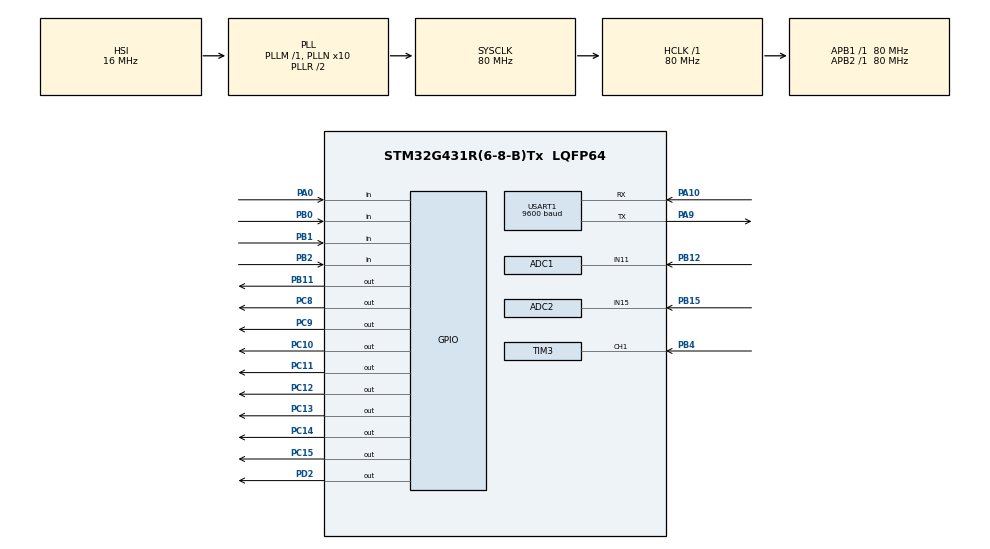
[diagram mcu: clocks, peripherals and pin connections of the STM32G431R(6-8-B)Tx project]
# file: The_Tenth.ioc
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ADC1.Channel-0\#ChannelRegularConversion=ADC_CHANNEL_11
ADC1.NbrOfConversionFlag=1
ADC1.OffsetNumber-0\#ChannelRegularConversion=ADC_OFFSET_NONE
ADC1.Rank-0\#ChannelRegularConversion=1
ADC1.SamplingTime-0\#ChannelRegularConversion=ADC_SAMPLETIME_640CYCLES_5
ADC1.master=1
ADC2.Channel-0\#ChannelRegularConversion=ADC_CHANNEL_15
ADC2.NbrOfConversionFlag=1
ADC2.OffsetNumber-0\#ChannelRegularConversion=ADC_OFFSET_NONE
ADC2.Rank-0\#ChannelRegularConversion=1
ADC2.SamplingTime-0\#ChannelRegularConversion=ADC_SAMPLETIME_640CYCLES_5
Mcu.Family=STM32G4
Mcu.Name=STM32G431R(6-8-B)Tx
Mcu.Package=LQFP64
NVIC.PriorityGroup=NVIC_PRIORITYGROUP_4
NVIC.TIM3_IRQn=true\:1\:0\:true\:false\:true\:true\:true
NVIC.USART1_IRQn=true\:1\:0\:true\:false\:true\:true\:true
PA0.GPIO_PuPd=GPIO_PULLUP
PA0.Signal=GPIO_Input
PA10.Mode=Asynchronous
PA10.Signal=USART1_RX
PA9.Mode=Asynchronous
PA9.Signal=USART1_TX
PB0.GPIO_PuPd=GPIO_PULLUP
PB0.Signal=GPIO_Input
PB1.GPIO_PuPd=GPIO_PULLUP
PB1.Signal=GPIO_Input
PB11.GPIO_PuPd=GPIO_PULLDOWN
PB11.Signal=GPIO_Output
PB12.Mode=IN11-Single-Ended
PB12.Signal=ADC1_IN11
PB15.Mode=IN15-Single-Ended
PB15.Signal=ADC2_IN15
PB2.GPIO_PuPd=GPIO_PULLUP
PB2.Signal=GPIO_Input
PB4.Signal=S_TIM3_CH1
PC10.Signal=GPIO_Output
PC11.Signal=GPIO_Output
PC12.Signal=GPIO_Output
PC13.Signal=GPIO_Output
PC14-OSC32_IN.Signal=GPIO_Output
PC15-OSC32_OUT.Signal=GPIO_Output
PC8.Signal=GPIO_Output
PC9.Signal=GPIO_Output
PD2.Signal=GPIO_Output
ProjectManager.HeapSize=0x200
ProjectManager.StackSize=0x400
ProjectManager.TargetToolchain=MDK-ARM V5.32
RCC.ADC12Freq_Value=80000000
RCC.AHBFreq_Value=80000000
RCC.APB1Freq_Value=80000000
RCC.APB1TimFreq_Value=80000000
RCC.APB2Freq_Value=80000000
RCC.APB2TimFreq_Value=80000000
RCC.CortexFreq_Value=80000000
RCC.EXTERNAL_CLOCK_VALUE=12288000
RCC.HCLKFreq_Value=80000000
RCC.HSE_VALUE=8000000
RCC.HSI48_VALUE=48000000
RCC.HSI_VALUE=16000000
RCC.LSE_VALUE=32768
RCC.PLLN=10
RCC.SYSCLKFreq_VALUE=80000000
RCC.SYSCLKSource=RCC_SYSCLKSOURCE_PLLCLK
RCC.USBFreq_Value=80000000
RCC.VCOOutputFreq_Value=160000000
SH.S_TIM3_CH1.0=TIM3_CH1,TriggerSource_TI1FP1
SH.S_TIM3_CH1.1=TIM3_CH1,Input_Capture1_from_TI1
TIM3.Channel-Input_Capture1_from_TI1=TIM_CHANNEL_1
TIM3.Channel-Input_Capture2_from_TI1_63=TIM_CHANNEL_2
TIM3.ICPolarity_CH2=TIM_INPUTCHANNELPOLARITY_FALLING
TIM3.Prescaler=79
USART1.BaudRate=9600
USART1.VirtualMode-Asynchronous=VM_ASYNC
VP_SYS_VS_DBSignals.Mode=DisableDeadBatterySignals
VP_TIM3_VS_ClockSourceINT.Mode=Internal
VP_TIM3_VS_ControllerModeReset.Mode=Reset Mode
VP_TIM3_VS_indirect_ch1.Mode=Input_Capture2_from_TI1_63
board=custom

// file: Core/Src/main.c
/* USER CODE BEGIN Header */
/**
  ******************************************************************************
  * @file           : main.c
  * @brief          : Main program body
  ******************************************************************************
  * @attention
  *
  * Copyright (c) 2022 STMicroelectronics.
  * All rights reserved.
  *
  * This software is licensed under terms that can be found in the LICENSE file
  * in the root directory of this software component.
  * If no LICENSE file comes with this software, it is provided AS-IS.
  *
  ******************************************************************************
  */
/* USER CODE END Header */
#include "main.h"
#include "adc.h"
#include "tim.h"
#include "usart.h"
#include "gpio.h"

/* USER CODE BEGIN PV */
uint32_t uwTick_LCD_Set_Point;
uint32_t uwTick_ADC_Set_Point;
uint32_t uwTick_Key_Set_Point;
uint32_t uwTick_Key_Long_Set_Point;
uint32_t uwTick_USART_Set_Point;
uint32_t uwTick_USART_Set_Point_1;
uint32_t uwTick_USART_Count_Set_Point;
uint32_t uwTick_Led_Set_Point;

uint32_t ADC_Count = 20, Led_Count, temp;
unsigned char pucStr[21], EEPROM_Num[2];
double ADC_Value_R37, ADC_Value_R38;
unsigned char ucKey_Val, ucKey_Down, ucKey_Old, ucKey_Up;
uint8_t State;
uint16_t PWM1_T_Count, PWM1_H_Count, Num, Channel, Channel_Old;
double Duty;
float DS18B20_Value;
uint8_t DS18B20_Value_T = 30, DS18B20_Value_T_Old = 30;
unsigned char pucRcv[1], rx_buffer, Count = 0, Rx_Buf[200], Rx_Buf_1[200];
unsigned char ucLed, ucLed_Flag;
uint8_t Rx_Flag;
/* USER CODE END PV */

void SystemClock_Config(void);
/* USER CODE BEGIN PFP */
void LCD_Proc(void);
void ADC_Proc(void);
void Key_Proc(void);
void USART_Proc(void);
void USART_Porc_1(void);
void Led_Proc(void);
/* USER CODE END PFP */

int main(void)
{

  /* MCU Configuration--------------------------------------------------------*/

  /* Reset of all peripherals, Initializes the Flash interface and the Systick. */
  HAL_Init();

  /* Configure the system clock */
  SystemClock_Config();

  /* Initialize all configured peripherals */
  MX_GPIO_Init();
  MX_ADC1_Init();
  MX_ADC2_Init();
  MX_TIM3_Init();
  MX_USART1_UART_Init();
  /* USER CODE BEGIN 2 */
	LCD_Init();
	LCD_Clear(Black);
	LCD_SetBackColor(Black);
	LCD_SetTextColor(White);

	I2CInit();
	I2C_24C02_Read(EEPROM_Num, 0, 2);
	Num = EEPROM_Num[0] + (EEPROM_Num[1] << 8);

	ds18b20_init_x();

	HAL_TIM_IC_Start_IT(&htim3, TIM_CHANNEL_1);
	HAL_TIM_IC_Start_IT(&htim3, TIM_CHANNEL_2);

	HAL_UART_Receive_IT(&huart1, (uint8_t*)(&rx_buffer), 1);
  /* USER CODE END 2 */

  /* Infinite loop */
  while (1)
  {

    /* USER CODE BEGIN 3 */
		Key_Proc();
		LCD_Proc();
		ADC_Proc();
		USART_Proc();
		USART_Porc_1();
		Led_Proc();
  }
  /* USER CODE END 3 */
}

void SystemClock_Config(void)
{
  RCC_OscInitTypeDef RCC_OscInitStruct = {0};
  RCC_ClkInitTypeDef RCC_ClkInitStruct = {0};

  /** Configure the main internal regulator output voltage
  */
  HAL_PWREx_ControlVoltageScaling(PWR_REGULATOR_VOLTAGE_SCALE1);
  /** Initializes the RCC Oscillators according to the specified parameters
  * in the RCC_OscInitTypeDef structure.
  */
  RCC_OscInitStruct.OscillatorType = RCC_OSCILLATORTYPE_HSI;
  RCC_OscInitStruct.HSIState = RCC_HSI_ON;
  RCC_OscInitStruct.HSICalibrationValue = RCC_HSICALIBRATION_DEFAULT;
  RCC_OscInitStruct.PLL.PLLState = RCC_PLL_ON;
  RCC_OscInitStruct.PLL.PLLSource = RCC_PLLSOURCE_HSI;
  RCC_OscInitStruct.PLL.PLLM = RCC_PLLM_DIV1;
  RCC_OscInitStruct.PLL.PLLN = 10;
  RCC_OscInitStruct.PLL.PLLP = RCC_PLLP_DIV2;
  RCC_OscInitStruct.PLL.PLLQ = RCC_PLLQ_DIV2;
  RCC_OscInitStruct.PLL.PLLR = RCC_PLLR_DIV2;
  if (HAL_RCC_OscConfig(&RCC_OscInitStruct) != HAL_OK)
  {
    Error_Handler();
  }
  /** Initializes the CPU, AHB and APB buses clocks
  */
  RCC_ClkInitStruct.ClockType = RCC_CLOCKTYPE_HCLK|RCC_CLOCKTYPE_SYSCLK
                              |RCC_CLOCKTYPE_PCLK1|RCC_CLOCKTYPE_PCLK2;
  RCC_ClkInitStruct.SYSCLKSource = RCC_SYSCLKSOURCE_PLLCLK;
  RCC_ClkInitStruct.AHBCLKDivider = RCC_SYSCLK_DIV1;
  RCC_ClkInitStruct.APB1CLKDivider = RCC_HCLK_DIV1;
  RCC_ClkInitStruct.APB2CLKDivider = RCC_HCLK_DIV1;

  if (HAL_RCC_ClockConfig(&RCC_ClkInitStruct, FLASH_LATENCY_2) != HAL_OK)
  {
    Error_Handler();
  }
}

/* USER CODE BEGIN 4 */
void LCD_Proc(void)
{
	if((uwTick - uwTick_LCD_Set_Point) < 300)
		return;
	uwTick_LCD_Set_Point = uwTick;

	if(!State)
	{
		sprintf((char*)pucStr, "        Main          ");
		LCD_DisplayStringLine(Line0, pucStr);
		sprintf((char*)pucStr, "                      ");
		LCD_DisplayStringLine(Line1, pucStr);
		sprintf((char*)pucStr, "      R37:%3.2lfV      ", ADC_Value_R37);
		LCD_DisplayStringLine(Line2, pucStr);
		sprintf((char*)pucStr, "      R38:%3.2lfV      ", ADC_Value_R38);
		LCD_DisplayStringLine(Line3, pucStr);
		sprintf((char*)pucStr, "      PWM2:%.0lf%%    ", Duty * 100);
		LCD_DisplayStringLine(Line4, pucStr);
		sprintf((char*)pucStr, "      Temp:%.2fC  ", DS18B20_Value);
		LCD_DisplayStringLine(Line5, pucStr);
		sprintf((char*)pucStr, "      N:%d        ", Num);
		LCD_DisplayStringLine(Line6, pucStr);
	}
	else
	{
		sprintf((char*)pucStr, "        Para         ");
		LCD_DisplayStringLine(Line0, pucStr);

		if(State == 1)
			LCD_SetBackColor(Red);
		sprintf((char*)pucStr, "       T:%d          ", DS18B20_Value_T);
		LCD_DisplayStringLine(Line1, pucStr);
		LCD_SetBackColor(Black);

		sprintf((char*)pucStr, "                      ");
		LCD_DisplayStringLine(Line2, pucStr);

		if(State == 2)
			LCD_SetBackColor(Red);
		if(!Channel)
			sprintf((char*)pucStr, "       X:AO1        ");
		else
			sprintf((char*)pucStr, "       X:AO2        ");
		LCD_DisplayStringLine(Line3, pucStr);
		LCD_SetBackColor(Black);

		sprintf((char*)pucStr, "                      ");
		LCD_DisplayStringLine(Line4, pucStr);
		sprintf((char*)pucStr, "                      ");
		LCD_DisplayStringLine(Line5, pucStr);
		sprintf((char*)pucStr, "                      ");
		LCD_DisplayStringLine(Line6, pucStr);
	}
}

void ADC_Proc(void)
{
	if((uwTick - uwTick_ADC_Set_Point) < 100)
		return;
	uwTick_ADC_Set_Point = uwTick;

	ADC_Value_R37 = Get_ADC_R37() / 4095. * 3.3;
	ADC_Value_R38 = Get_ADC_R38() / 4095. * 3.3;

	ADC_Count--;
	if(!ADC_Count)
	{
		ADC_Count = 20;
		DS18B20_Value = (DS18B20_Read() & 0x07FF) / 16.0;
	}
}

void Key_Proc(void)
{
	if((uwTick - uwTick_Key_Set_Point) < 50)
		return;
	uwTick_Key_Set_Point = uwTick;

	ucKey_Val = Key_Scan();
	ucKey_Down = ucKey_Val & (ucKey_Val ^ ucKey_Old);
	ucKey_Up = ~ucKey_Val & (ucKey_Val ^ ucKey_Old);
	ucKey_Old = ucKey_Val;

	if(ucKey_Down)
		uwTick_Key_Long_Set_Point = uwTick;

	switch(ucKey_Down)
	{
		case 1:
			if(!State)
			{
				State = 1;
			}
			else
			{
				State = 0;

				if((Channel != Channel_Old) || (DS18B20_Value_T != DS18B20_Value_T_Old))
				{
					Num++;
					EEPROM_Num[0] = Num & 0x00ff;
					EEPROM_Num[1] = Num >> 8;
					I2C_24C02_Write(EEPROM_Num, 0, 2);

					DS18B20_Value_T_Old = DS18B20_Value_T;
					Channel_Old = Channel;
				}
			}
		break;

		case 2:
				if(State)
				{
					if(++State == 3)
						State = 1;
				}
		break;
	}

	if((uwTick - uwTick_Key_Long_Set_Point) <= 800)
	{
		switch(ucKey_Up)
		{
			case 3:
				if(State == 1)
				{
					if(DS18B20_Value_T < 40)
						DS18B20_Value_T++;
				}
				else if(State == 2)
				{
					if(!Channel)
						Channel = 1;
					else
						Channel = 0;
				}
			break;

			case 4:
				if(State == 1)
				{
					if(DS18B20_Value_T > 20)
						DS18B20_Value_T--;
				}
				else if(State == 2)
				{
					if(!Channel)
						Channel = 1;
					else
						Channel = 0;
				}
			break;
		}
	}
	else
	{
		switch(ucKey_Val)
		{
			case 3:
				if(State == 1)
				{
					if(DS18B20_Value_T < 40)
						DS18B20_Value_T++;
				}
			break;

			case 4:
				if(State == 1)
				{
					if(DS18B20_Value_T > 20)
						DS18B20_Value_T--;
				}
			break;
		}
	}
}

void USART_Proc(void)
{
	if((uwTick - uwTick_USART_Set_Point) <= 100)
		return;
	uwTick_USART_Set_Point = uwTick;

	if(Rx_Flag)
	{
		if(strcmp((const char*)Rx_Buf, "ST\r\n") == 0)
		{
			sprintf((char*)pucStr, "$%5.2f\r\n", DS18B20_Value);
			HAL_UART_Transmit(&huart1, (u8*)pucStr, strlen((char*)pucStr), 50);

			ucLed |= 0x01;
		}
		else if(strcmp((const char*)Rx_Buf, "PARA\r\n") == 0)
		{
			if(!Channel)
				sprintf((char*)pucStr, "#%d,AO1\r\n", DS18B20_Value_T);
			else
				sprintf((char*)pucStr, "#%d,AO2\r\n", DS18B20_Value_T);
			HAL_UART_Transmit(&huart1, (u8*)pucStr, strlen((char*)pucStr), 50);

			ucLed &= ~0x01;
		}
		else
		{
			sprintf((char*)pucStr, "Error\r\n");
			HAL_UART_Transmit(&huart1, (u8*)pucStr, strlen((char*)pucStr), 50);

			ucLed &= ~0x01;
		}

		memset(Rx_Buf, 0, sizeof(Rx_Buf));
		Rx_Flag = 0;
		Count = 0;
	}
}

void USART_Porc_1(void)
{
	if((uwTick - uwTick_USART_Set_Point) < 1000)
		return;
	uwTick_USART_Set_Point = uwTick;

	if((ADC_Value_R37 > Duty * 3.3) || (ADC_Value_R38 > Duty * 3.3))
	{
		sprintf((char*)pucStr, "$%5.2f\r\n", DS18B20_Value);
		HAL_UART_Transmit(&huart1, (u8*)pucStr, strlen((char*)pucStr), 50);
	}
}
void HAL_TIM_IC_CaptureCallback(TIM_HandleTypeDef *htim)
{
	if(htim->Channel == HAL_TIM_ACTIVE_CHANNEL_1)
	{
		PWM1_T_Count = HAL_TIM_ReadCapturedValue(&htim3, TIM_CHANNEL_1) + 1;

		Duty = (float)PWM1_H_Count / PWM1_T_Count;
	}
	else if(htim->Channel == HAL_TIM_ACTIVE_CHANNEL_2)
	{
		PWM1_H_Count = HAL_TIM_ReadCapturedValue(&htim3, TIM_CHANNEL_2) + 1;
	}
}

void Led_Proc(void)
{
	if((uwTick - uwTick_Led_Set_Point) < 200)
		return;
	uwTick_Led_Set_Point = uwTick;

	if(DS18B20_Value > DS18B20_Value_T_Old)
	{
		ucLed ^= (1 << 7);
	}
	else
	{
		ucLed &= ~(1 << 7);
	}

	if((ADC_Value_R37 > Duty * 3.3) || (ADC_Value_R38 > Duty * 3.3))
	{
		ucLed |= 0x01;
	}
	else
	{
		ucLed &= ~0x01;
	}
	Led_Disp(ucLed);
}

void HAL_UART_RxCpltCallback(UART_HandleTypeDef *huart)
{
	Rx_Flag = 1;
	Rx_Buf[Count++] = rx_buffer;
	HAL_UART_Receive_IT(&huart1, (uint8_t*)&rx_buffer, 1);
}
/* USER CODE END 4 */

void Error_Handler(void)
{
  __disable_irq();
  while (1)
  {
  }
}
